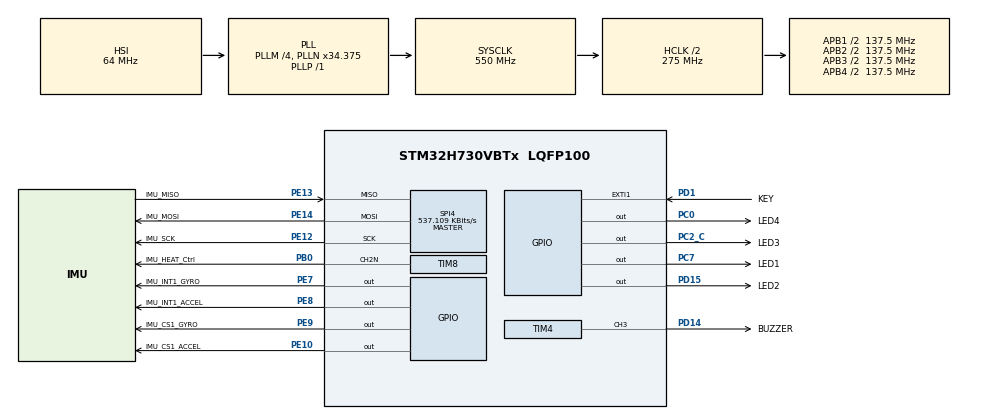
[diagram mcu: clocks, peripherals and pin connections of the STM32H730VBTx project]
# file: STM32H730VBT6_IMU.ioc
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CORTEX_M7.default_mode_Activation=1
Dma.Request0=SPI4_RX
Dma.Request1=SPI4_TX
Dma.SPI4_RX.0.Direction=DMA_PERIPH_TO_MEMORY
Dma.SPI4_RX.0.EventEnable=DISABLE
Dma.SPI4_RX.0.FIFOMode=DMA_FIFOMODE_DISABLE
Dma.SPI4_RX.0.Instance=DMA1_Stream0
Dma.SPI4_RX.0.MemDataAlignment=DMA_MDATAALIGN_BYTE
Dma.SPI4_RX.0.MemInc=DMA_MINC_ENABLE
Dma.SPI4_RX.0.Mode=DMA_NORMAL
Dma.SPI4_RX.0.PeriphDataAlignment=DMA_PDATAALIGN_BYTE
Dma.SPI4_RX.0.PeriphInc=DMA_PINC_DISABLE
Dma.SPI4_RX.0.Polarity=HAL_DMAMUX_REQ_GEN_RISING
Dma.SPI4_RX.0.Priority=DMA_PRIORITY_VERY_HIGH
Dma.SPI4_RX.0.RequestNumber=1
Dma.SPI4_RX.0.SignalID=NONE
Dma.SPI4_RX.0.SyncEnable=DISABLE
Dma.SPI4_RX.0.SyncPolarity=HAL_DMAMUX_SYNC_NO_EVENT
Dma.SPI4_RX.0.SyncRequestNumber=1
Dma.SPI4_RX.0.SyncSignalID=NONE
Dma.SPI4_TX.1.Direction=DMA_MEMORY_TO_PERIPH
Dma.SPI4_TX.1.EventEnable=DISABLE
Dma.SPI4_TX.1.FIFOMode=DMA_FIFOMODE_DISABLE
Dma.SPI4_TX.1.Instance=DMA1_Stream1
Dma.SPI4_TX.1.MemDataAlignment=DMA_MDATAALIGN_BYTE
Dma.SPI4_TX.1.MemInc=DMA_MINC_ENABLE
Dma.SPI4_TX.1.Mode=DMA_NORMAL
Dma.SPI4_TX.1.PeriphDataAlignment=DMA_PDATAALIGN_BYTE
Dma.SPI4_TX.1.PeriphInc=DMA_PINC_DISABLE
Dma.SPI4_TX.1.Polarity=HAL_DMAMUX_REQ_GEN_RISING
Dma.SPI4_TX.1.Priority=DMA_PRIORITY_HIGH
Dma.SPI4_TX.1.RequestNumber=1
Dma.SPI4_TX.1.SignalID=NONE
Dma.SPI4_TX.1.SyncEnable=DISABLE
Dma.SPI4_TX.1.SyncPolarity=HAL_DMAMUX_SYNC_NO_EVENT
Dma.SPI4_TX.1.SyncRequestNumber=1
Dma.SPI4_TX.1.SyncSignalID=NONE
Mcu.Family=STM32H7
Mcu.Name=STM32H730VBTx
Mcu.Package=LQFP100
NVIC.DMA1_Stream0_IRQn=true\:0\:0\:false\:false\:true\:false\:true\:true
NVIC.DMA1_Stream1_IRQn=true\:0\:0\:false\:false\:true\:false\:true\:true
NVIC.EXTI1_IRQn=true\:0\:0\:false\:false\:true\:true\:true\:true
NVIC.PriorityGroup=NVIC_PRIORITYGROUP_4
NVIC.SPI4_IRQn=true\:0\:0\:false\:false\:true\:false\:true\:true
PA13(JTMS/SWDIO).Mode=Serial_Wire
PA13(JTMS/SWDIO).Signal=DEBUG_JTMS-SWDIO
PA14(JTCK/SWCLK).Mode=Serial_Wire
PA14(JTCK/SWCLK).Signal=DEBUG_JTCK-SWCLK
PB0.GPIO_Label=IMU_HEAT_Ctrl
PB0.GPIO_PuPd=GPIO_NOPULL
PB0.Mode=Output Compare2 CH2N
PB0.Signal=TIM8_CH2N
PC0.GPIO_Label=LED4
PC0.Signal=GPIO_Output
PC14-OSC32_IN.Mode=LSE-External-Oscillator
PC14-OSC32_IN.Signal=RCC_OSC32_IN
PC15-OSC32_OUT.Mode=LSE-External-Oscillator
PC15-OSC32_OUT.Signal=RCC_OSC32_OUT
PC2_C.GPIO_Label=LED3
PC2_C.Signal=GPIO_Output
PC7.GPIO_Label=LED1
PC7.Signal=GPIO_Output
PD1.GPIO_Label=KEY
PD1.GPIO_ModeDefaultEXTI=GPIO_MODE_IT_FALLING
PD1.Signal=GPXTI1
PD14.GPIO_Label=BUZZER
PD14.Signal=S_TIM4_CH3
PD15.GPIO_Label=LED2
PD15.Signal=GPIO_Output
PE10.GPIO_Label=IMU_CS1_ACCEL
PE10.GPIO_Speed=GPIO_SPEED_FREQ_LOW
PE10.PinState=GPIO_PIN_RESET
PE10.Signal=GPIO_Output
PE12.GPIO_Label=IMU_SCK
PE12.GPIO_Speed=GPIO_SPEED_FREQ_LOW
PE12.Mode=Full_Duplex_Master
PE12.Signal=SPI4_SCK
PE13.GPIO_Label=IMU_MISO
PE13.GPIO_Speed=GPIO_SPEED_FREQ_LOW
PE13.Mode=Full_Duplex_Master
PE13.Signal=SPI4_MISO
PE14.GPIO_Label=IMU_MOSI
PE14.GPIO_Speed=GPIO_SPEED_FREQ_LOW
PE14.Mode=Full_Duplex_Master
PE14.Signal=SPI4_MOSI
PE7.GPIO_Label=IMU_INT1_GYRO
PE7.Signal=GPIO_Output
PE8.GPIO_Label=IMU_INT1_ACCEL
PE8.Signal=GPIO_Output
PE9.GPIO_Label=IMU_CS1_GYRO
PE9.GPIO_Speed=GPIO_SPEED_FREQ_LOW
PE9.PinState=GPIO_PIN_RESET
PE9.Signal=GPIO_Output
PH0-OSC_IN.Mode=HSE-External-Oscillator
PH0-OSC_IN.Signal=RCC_OSC_IN
PH1-OSC_OUT.Mode=HSE-External-Oscillator
PH1-OSC_OUT.Signal=RCC_OSC_OUT
ProjectManager.HeapSize=0x200
ProjectManager.StackSize=0x400
ProjectManager.TargetToolchain=STM32CubeIDE
RCC.ADCFreq_Value=129000000
RCC.APB1Freq_Value=137500000
RCC.APB2Freq_Value=137500000
RCC.APB3Freq_Value=137500000
RCC.APB4Freq_Value=137500000
RCC.CortexFreq_Value=550000000
RCC.D1PPRE=RCC_APB3_DIV2
RCC.D2PPRE1=RCC_APB1_DIV2
RCC.D2PPRE2=RCC_APB2_DIV2
RCC.D3PPRE=RCC_APB4_DIV2
RCC.DIVM1=4
RCC.DIVN1=34
RCC.DIVP1=1
RCC.HCLKFreq_Value=275000000
RCC.HPRE=RCC_HCLK_DIV2
RCC.PLL2FRACN=0
RCC.PLL3FRACN=0
RCC.PLLFRACN=3072
RCC.SYSCLKFreq_VALUE=550000000
RCC.SYSCLKSource=RCC_SYSCLKSOURCE_PLLCLK
RCC.USBFreq_Value=275000000
SH.S_TIM4_CH3.0=TIM4_CH3,PWM Generation3 CH3
SPI4.BaudRatePrescaler=SPI_BAUDRATEPRESCALER_256
SPI4.CLKPhase=SPI_PHASE_2EDGE
SPI4.CLKPolarity=SPI_POLARITY_HIGH
SPI4.CalculateBaudRate=537.109 KBits/s
SPI4.DataSize=SPI_DATASIZE_8BIT
SPI4.Direction=SPI_DIRECTION_2LINES
SPI4.Mode=SPI_MODE_MASTER
SPI4.VirtualType=VM_MASTER
TIM4.AutoReloadPreload=TIM_AUTORELOAD_PRELOAD_ENABLE
TIM4.Channel-PWM\ Generation3\ CH3=TIM_CHANNEL_3
TIM4.OCFastMode_PWM-PWM\ Generation3\ CH3=TIM_OCFAST_ENABLE
TIM4.Period=10999
TIM4.Prescaler=49
TIM8.AutoReloadPreload=TIM_AUTORELOAD_PRELOAD_ENABLE
TIM8.Channel-Output\ Compare2\ CH2N=TIM_CHANNEL_2
TIM8.OC2Preload=ENABLE
TIM8.Period=10000-1
TIM8.Prescaler=55-1
board=custom

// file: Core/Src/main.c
/* USER CODE BEGIN Header */
/**
 ******************************************************************************
 * @file           : main.c
 * @brief          : Main program body
 ******************************************************************************
 * @attention
 *
 * Copyright (c) 2024 STMicroelectronics.
 * All rights reserved.
 *
 * This software is licensed under terms that can be found in the LICENSE file
 * in the root directory of this software component.
 * If no LICENSE file comes with this software, it is provided AS-IS.
 *
 ******************************************************************************
 */
/* USER CODE END Header */
#include "main.h"
#include "dma.h"
#include "spi.h"
#include "tim.h"
#include "gpio.h"

/* USER CODE BEGIN Includes */
#include "BUZZER.h"
#include "BMI088driver.h"
/* USER CODE END Includes */

/* USER CODE BEGIN PV */
float gyro_data[3], accel_data[3], temperature_data;
/* USER CODE END PV */

void SystemClock_Config(void);
static void MPU_Config(void);

int main(void)
{

  /* MPU Configuration--------------------------------------------------------*/
  MPU_Config();

  /* MCU Configuration--------------------------------------------------------*/

  /* Reset of all peripherals, Initializes the Flash interface and the Systick. */
  HAL_Init();

  /* Configure the system clock */
  SystemClock_Config();

  /* Initialize all configured peripherals */
  MX_GPIO_Init();
  MX_DMA_Init();
  MX_SPI4_Init();
  MX_TIM4_Init();
  MX_TIM8_Init();
  /* USER CODE BEGIN 2 */
    while (BMI088_init()) {
        ;
    }

    BUZZER_0N(400);
    HAL_Delay(100);
    BUZZER_Stop();
    HAL_Delay(100);
    BUZZER_0N(500);
    HAL_Delay(100);
    BUZZER_Stop();
    BUZZER_0N(700);
    HAL_Delay(114);
    BUZZER_Stop();
  /* USER CODE END 2 */

  /* Infinite loop */
  /* USER CODE BEGIN WHILE */
    while (1) {
        if (HAL_GPIO_ReadPin(KEY_GPIO_Port, KEY_Pin)) {
            BUZZER_Stop();
        } else {
            BUZZER_0N(114);
        }
        BMI088_read(gyro_data, accel_data, &temperature_data);
        Temp_control(temperature_data);
        HAL_Delay(10);
        // __HAL_TIM_SET_COMPARE(&htim8, TIM_CHANNEL_2,0);
    /* USER CODE END WHILE */

    }
}

void SystemClock_Config(void)
{
  RCC_OscInitTypeDef RCC_OscInitStruct = {0};
  RCC_ClkInitTypeDef RCC_ClkInitStruct = {0};

  /** Supply configuration update enable
  */
  HAL_PWREx_ConfigSupply(PWR_LDO_SUPPLY);

  /** Configure the main internal regulator output voltage
  */
  __HAL_PWR_VOLTAGESCALING_CONFIG(PWR_REGULATOR_VOLTAGE_SCALE0);

  while(!__HAL_PWR_GET_FLAG(PWR_FLAG_VOSRDY)) {}

  /** Initializes the RCC Oscillators according to the specified parameters
  * in the RCC_OscInitTypeDef structure.
  */
  RCC_OscInitStruct.OscillatorType = RCC_OSCILLATORTYPE_HSI;
  RCC_OscInitStruct.HSIState = RCC_HSI_DIV1;
  RCC_OscInitStruct.HSICalibrationValue = 64;
  RCC_OscInitStruct.PLL.PLLState = RCC_PLL_ON;
  RCC_OscInitStruct.PLL.PLLSource = RCC_PLLSOURCE_HSI;
  RCC_OscInitStruct.PLL.PLLM = 4;
  RCC_OscInitStruct.PLL.PLLN = 34;
  RCC_OscInitStruct.PLL.PLLP = 1;
  RCC_OscInitStruct.PLL.PLLQ = 2;
  RCC_OscInitStruct.PLL.PLLR = 2;
  RCC_OscInitStruct.PLL.PLLRGE = RCC_PLL1VCIRANGE_3;
  RCC_OscInitStruct.PLL.PLLVCOSEL = RCC_PLL1VCOWIDE;
  RCC_OscInitStruct.PLL.PLLFRACN = 3072;
  if (HAL_RCC_OscConfig(&RCC_OscInitStruct) != HAL_OK)
  {
    Error_Handler();
  }

  /** Initializes the CPU, AHB and APB buses clocks
  */
  RCC_ClkInitStruct.ClockType = RCC_CLOCKTYPE_HCLK|RCC_CLOCKTYPE_SYSCLK
                              |RCC_CLOCKTYPE_PCLK1|RCC_CLOCKTYPE_PCLK2
                              |RCC_CLOCKTYPE_D3PCLK1|RCC_CLOCKTYPE_D1PCLK1;
  RCC_ClkInitStruct.SYSCLKSource = RCC_SYSCLKSOURCE_PLLCLK;
  RCC_ClkInitStruct.SYSCLKDivider = RCC_SYSCLK_DIV1;
  RCC_ClkInitStruct.AHBCLKDivider = RCC_HCLK_DIV2;
  RCC_ClkInitStruct.APB3CLKDivider = RCC_APB3_DIV2;
  RCC_ClkInitStruct.APB1CLKDivider = RCC_APB1_DIV2;
  RCC_ClkInitStruct.APB2CLKDivider = RCC_APB2_DIV2;
  RCC_ClkInitStruct.APB4CLKDivider = RCC_APB4_DIV2;

  if (HAL_RCC_ClockConfig(&RCC_ClkInitStruct, FLASH_LATENCY_3) != HAL_OK)
  {
    Error_Handler();
  }
}

 /* MPU Configuration */

void MPU_Config(void)
{
  MPU_Region_InitTypeDef MPU_InitStruct = {0};

  /* Disables the MPU */
  HAL_MPU_Disable();

  /** Initializes and configures the Region and the memory to be protected
  */
  MPU_InitStruct.Enable = MPU_REGION_ENABLE;
  MPU_InitStruct.Number = MPU_REGION_NUMBER0;
  MPU_InitStruct.BaseAddress = 0x0;
  MPU_InitStruct.Size = MPU_REGION_SIZE_4GB;
  MPU_InitStruct.SubRegionDisable = 0x87;
  MPU_InitStruct.TypeExtField = MPU_TEX_LEVEL0;
  MPU_InitStruct.AccessPermission = MPU_REGION_NO_ACCESS;
  MPU_InitStruct.DisableExec = MPU_INSTRUCTION_ACCESS_DISABLE;
  MPU_InitStruct.IsShareable = MPU_ACCESS_SHAREABLE;
  MPU_InitStruct.IsCacheable = MPU_ACCESS_NOT_CACHEABLE;
  MPU_InitStruct.IsBufferable = MPU_ACCESS_NOT_BUFFERABLE;

  HAL_MPU_ConfigRegion(&MPU_InitStruct);
  /* Enables the MPU */
  HAL_MPU_Enable(MPU_PRIVILEGED_DEFAULT);

}

void Error_Handler(void)
{
    __disable_irq();
    while (1) {
    }
}
